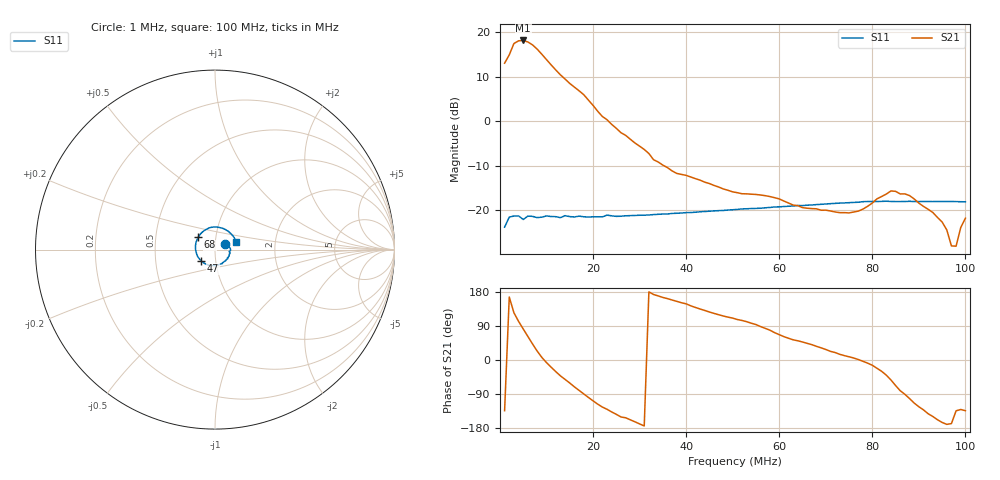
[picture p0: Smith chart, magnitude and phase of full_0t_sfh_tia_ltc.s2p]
# HZ S RI R 50
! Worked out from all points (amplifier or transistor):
!   100 points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, 1 MHz to 100 MHz, reference 50 ohm
!   highest |S21| = 18.1 dB at 5 MHz (marker M1)
!   |S21| within 3 dB of that: 2.091 MHz to 8.913 MHz (6.822 MHz wide, 124 % of centre)
!   S11 on the Smith chart (normalised r, x): 1 MHz: 1.12, +0.06; 47 MHz: 0.85, -0.11; 68 MHz: 0.82, +0.11; 100 MHz: 1.26, +0.11
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1000001  0.0582 0.0287  -3.092 -3.226  0 0  0 0
2000001  0.0834 0.0102  -5.379 1.317  0 0  0 0
3000001  0.0865 0.00129  -4.225 6.104  0 0  0 0
4000001  0.0864 -0.00591  -1.643 7.785  0 0  0 0
5000001  0.0784 -0.0104  1.128 7.955  0 0  0 0
6000001  0.0843 -0.0181  3.619 6.827  0 0  0 0
7000001  0.0826 -0.0226  5.291 4.833  0 0  0 0
8000001  0.0785 -0.0268  5.894 2.552  0 0  0 0
1e7  0.0791 -0.0355  4.866 -0.5864  0 0  0 0
1.2e7  0.073 -0.0434  3.219 -1.917  0 0  0 0
1.4e7  0.0704 -0.0515  1.852 -2.311  0 0  0 0
1.8e7  0.0551 -0.0643  0.0179 -1.981  0 0  0 0
2.1e7  0.0446 -0.0719  -0.5758 -1.157  0 0  0 0
2.6e7  0.0255 -0.0821  -0.6451 -0.3671  0 0  0 0
3.4e7  -0.0119 -0.0895  -0.3422 0.0657  0 0  0 0
4.7e7  -0.0767 -0.063  -0.0899 0.159  0 0  0 0
5.1e7  -0.0923 -0.0447  -0.0457 0.1511  0 0  0 0
6.7e7  -0.0972 0.0613  0.0796 0.0679  0 0  0 0
6.8e7  -0.0938 0.0684  0.0842 0.0613  0 0  0 0
8.4e7  0.0167 0.1248  0.1002 -0.1311  0 0  0 0
9.7e7  0.1063 0.0672  -0.0391 -0.00846  0 0  0 0
1e8  0.1166 0.0445  -0.0565 -0.059  0 0  0 0
